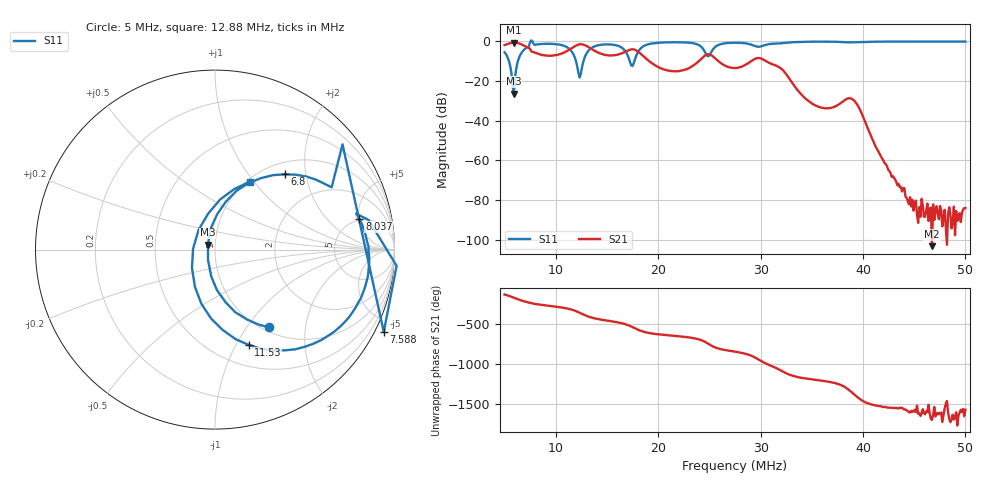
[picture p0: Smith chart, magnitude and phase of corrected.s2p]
! S11/S21 only; reverse parameters are placeholders. Device calibration unverified.
! [Saver CAL applied] C:\Users\aknya\MyProjects\rf-simulator\calibration2.cal | Ideal standards assumed | Input: NanoVNA F V2 profile | COM3 | 2026-09-08T12:10:56.7924094-04:00 | device calibration unverified
# HZ S RI R 50
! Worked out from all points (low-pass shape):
!   401 points, 5 MHz to 50 MHz, reference 50 ohm
!   highest |S21| = -0.69 dB at 5.9 MHz (marker M1); lowest = -103.2 dB at 46.74 MHz (marker M2)
!   |S21| within 3 dB of the highest: start of sweep to 7.461 MHz; 11.5 MHz to 13.42 MHz (1.923 MHz wide, 15.4 % of centre)
!   lowest |S11| = -26.3 dB at 5.9 MHz (marker M3), VSWR 1.10, Z = 46.1 + j2.58 ohm
!   |S11| at or under -10 dB: 5.421 MHz to 6.305 MHz (883.8 kHz wide, 15.1 % of centre); 11.97 MHz to 12.71 MHz (740.2 kHz wide, 6 % of centre); 17.22 MHz to 17.68 MHz (461 kHz wide, 2.64 % of centre)
!   S12 and S22 are empty: the file has one direction only
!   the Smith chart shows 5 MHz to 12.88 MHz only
!   S11 on the Smith chart (normalised r, x): 5 MHz: 1.07, -1.28; 6.8 MHz: 1.23, +1.54; 7.588 MHz: -0.44, -4.29; 8.037 MHz: 4.79, +5.08; 11.53 MHz: 0.73, -1.13; 12.88 MHz: 1.03, +0.95
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5000000  0.3011 -0.4334  -0.6069 -0.5222  0 0  0 0
5900000  -0.0393 0.0279  -0.9234 -0.0358  0 0  0 0
6800000  0.3914 0.4197  -0.6153 0.5038  0 0  0 0
7587500  0.9402 -0.458  -0.2475 0.5051  0 0  0 0
8037500  0.8048 0.1712  -0.1158 0.4936  0 0  0 0
1.1525e7  0.187 -0.5307  0.5414 0.3789  0 0  0 0
1.25375e7  -0.0376 0.2013  0.8005 -0.25  0 0  0 0
1.2875e7  0.193 0.3781  0.6345 -0.4723  0 0  0 0
1.5125e7  0.8096 -0.1946  -0.108 -0.4264  0 0  0 0
1.67e7  0.2219 -0.5568  -0.4227 -0.3217  0 0  0 0
1.74875e7  -0.2309 0.054  -0.6247 0.0191  0 0  0 0
1.8275e7  0.3501 0.5541  -0.3315 0.3596  0 0  0 0
2.0075e7  0.9101 0.1152  0.00956 0.218  0 0  0 0
2.46875e7  0.3729 -0.286  0.4422 -0.1012  0 0  0 0
2.75e7  0.8326 -0.3841  -0.1227 -0.1723  0 0  0 0
3.02e7  0.6821 -0.3477  -0.1037 0.3357  0 0  0 0
3.50375e7  0.703 -0.6687  -0.00893 -0.0252  0 0  0 0
3.90875e7  0.5416 -0.7669  0.011 0.0309  0 0  0 0
4.2575e7  0.4409 -0.87  -7.63e-05 -0.000531  0 0  0 0
4.4375e7  0.3712 -0.9039  -7.22e-05 -5.94e-05  0 0  0 0
4.67375e7  0.279 -0.9387  -2.3e-06 6.49e-06  0 0  0 0
5e7  0.158 -0.9663  -3.55e-05 -5.16e-05  0 0  0 0
